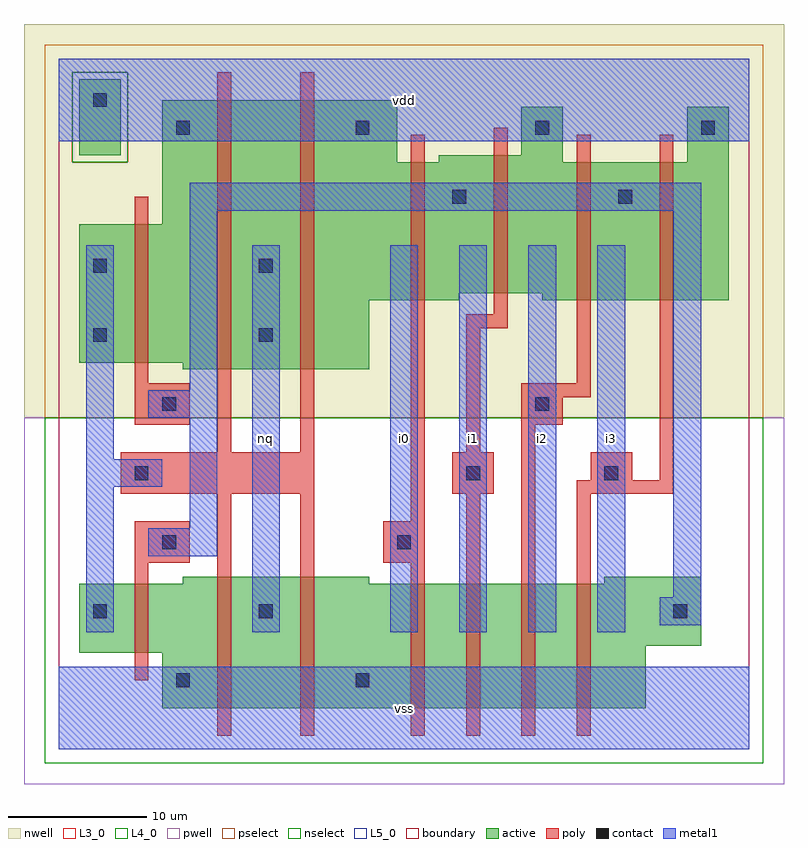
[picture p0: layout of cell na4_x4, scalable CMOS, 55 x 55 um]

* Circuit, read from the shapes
.subckt na4_x4 i0 i1 i2 i3 nq vdd vss
M1 vss n1 n2 VSUBS nfet w=5u l=1u
M2 nq n2 vss VSUBS nfet w=9.5u l=1u m=2
M3 n3 i0 vss VSUBS nfet w=9u l=1u
M4 n4 i1 n3 VSUBS nfet w=9u l=1u
M5 n5 i2 n4 VSUBS nfet w=9u l=1u
M6 n1 i3 n5 VSUBS nfet w=9u l=1u
M7 vdd n1 n2 vdd pfet w=10u l=1u
M8 nq n2 vdd vdd pfet w=19.5u l=1u m=2
M9 n1 i0 vdd vdd pfet w=10u l=1u
M10 vdd i1 n1 vdd pfet w=10u l=1u
M11 n1 i2 vdd vdd pfet w=10u l=1u
M12 vdd i3 n1 vdd pfet w=10u l=1u
.ends

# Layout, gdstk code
import gdstk
lib = gdstk.Library(unit=1e-6, precision=1e-09)
def R(c, l, rs):  # rectangles x0, y0, x1, y1
    for r in rs: c.add(gdstk.rectangle(r[:2], r[2:], *l))
def A(c, l, x, y, w, h, nx, ny, dx, dy):  # array of equal rectangles
    R(c, l, [(x+i*dx, y+j*dy, x+i*dx+w, y+j*dy+h) for i in range(nx) for j in range(ny)])
L3_0 = (3, 0)
L4_0 = (4, 0)
L5_0 = (5, 0)
contact = (25, 0)
pwell = (41, 0)
nwell = (42, 0)
active = (43, 0)
pselect = (44, 0)
nselect = (45, 0)
poly = (46, 0)
metal1 = (49, 0)
boundary = (63, 0)

na4_x4 = lib.new_cell('na4_x4')
R(na4_x4, L3_0, [(7.5,3,42.5,7), (1.5,7,42.5,7.5), (1.5,7.5,46.5,12), (9,12,22.5,12.5), (39.5,12,46.5,12.5)])
R(na4_x4, L4_0, [(9,27.5,22.5,28), (1.5,28,22.5,32.5), (1.5,32.5,29,33), (35,32.5,48.5,33), (1.5,33,48.5,38), (7.5,38,48.5,42.5), (7.5,42.5,24.5,47), (27.5,42.5,36.5,43), (45.5,42.5,48.5,46.5), (33.5,43,36.5,46.5)])
R(na4_x4, L5_0, [(1.5,43,4.5,48.5)])
A(na4_x4, contact, 8.5, 44.5, 1, 1, 3, 1, 13, 0)
R(na4_x4, contact, [(8.5,4.5,9.5,5.5), (21.5,4.5,22.5,5.5), (2.5,9.5,3.5,10.5), (14.5,9.5,15.5,10.5), (44.5,9.5,45.5,10.5), (7.5,14.5,8.5,15.5), (24.5,14.5,25.5,15.5), (5.5,19.5,6.5,20.5), (29.5,19.5,30.5,20.5), (39.5,19.5,40.5,20.5), (7.5,24.5,8.5,25.5), (34.5,24.5,35.5,25.5), (2.5,29.5,3.5,30.5), (14.5,29.5,15.5,30.5), (2.5,34.5,3.5,35.5), (14.5,34.5,15.5,35.5), (28.5,39.5,29.5,40.5), (40.5,39.5,41.5,40.5), (46.5,44.5,47.5,45.5), (2.5,46.5,3.5,47.5)])
R(na4_x4, pwell, [(-2.5,-2.5,52.5,24)])
R(na4_x4, nwell, [(-2.5,24,52.5,52.5)])
R(na4_x4, active, [(7.5,3,42.5,7), (1.5,7,42.5,7.5), (1.5,7.5,46.5,12), (9,12,22.5,12.5), (39.5,12,46.5,12.5), (9,27.5,22.5,28), (1.5,28,22.5,32.5), (1.5,32.5,29,33), (35,32.5,48.5,33), (1.5,33,48.5,38), (7.5,38,48.5,42.5), (7.5,42.5,24.5,47), (27.5,42.5,36.5,43), (45.5,42.5,48.5,46.5), (1.5,43,4.5,48.5), (33.5,43,36.5,46.5)])
R(na4_x4, pselect, [(-1,24,51,42.5), (-1,42.5,1,49), (5,42.5,51,49), (-1,49,51,51)])
R(na4_x4, nselect, [(-1,-1,51,24), (1,42.5,5,49)])
R(na4_x4, poly, [(11.5,1,12.5,18.5), (17.5,1,18.5,18.5), (25.5,1,26.5,13.5), (29.5,1,30.5,18.5), (33.5,1,34.5,23.5), (37.5,1,38.5,18.5), (5.5,5,6.5,13.5), (5.5,13.5,9.5,16.5), (23.5,13.5,26.5,16.5), (25.5,16.5,26.5,44.5), (4.5,18.5,18.5,21.5), (28.5,18.5,31.5,21.5), (37.5,18.5,44.5,19.5), (38.5,19.5,41.5,21.5), (43.5,19.5,44.5,44.5), (11.5,21.5,12.5,49), (17.5,21.5,18.5,49), (29.5,21.5,30.5,30.5), (5.5,23.5,9.5,26.5), (33.5,23.5,36.5,25.5), (33.5,25.5,38.5,26.5), (5.5,26.5,6.5,40), (37.5,26.5,38.5,44.5), (29.5,30.5,32.5,31.5), (31.5,31.5,32.5,45)])
R(na4_x4, metal1, [(0,0,50,6), (0,0,50,6), (2,8.5,4,19), (2,8.5,4,19), (14,8.5,16,36.5), (14,8.5,16,36.5), (24,8.5,26,36.5), (24,8.5,26,36.5), (29,8.5,31,36.5), (29,8.5,31,36.5), (34,8.5,36,36.5), (34,8.5,36,36.5), (39,8.5,41,36.5), (39,8.5,41,36.5), (43.5,9,46.5,11), (43.5,9,46.5,11), (44.5,11,46.5,39), (44.5,11,46.5,39), (6.5,14,11.5,16), (6.5,14,11.5,16), (9.5,16,11.5,24), (9.5,16,11.5,24), (2,19,7.5,21), (2,19,7.5,21), (2,21,4,36.5), (2,21,4,36.5), (6.5,24,11.5,26), (6.5,24,11.5,26), (9.5,26,11.5,39), (9.5,26,11.5,39), (9.5,39,46.5,41), (9.5,39,46.5,41), (0,44,50,50), (0,44,50,50)])
R(na4_x4, boundary, [(0,0,50,50)])
na4_x4.add(gdstk.Label('nq', (15,22.5), layer=49, texttype=0))
na4_x4.add(gdstk.Label('vss', (25,3), layer=49, texttype=0))
na4_x4.add(gdstk.Label('i0', (25,22.5), layer=49, texttype=0))
na4_x4.add(gdstk.Label('i2', (35,22.5), layer=49, texttype=0))
na4_x4.add(gdstk.Label('i1', (30,22.5), layer=49, texttype=0))
na4_x4.add(gdstk.Label('vdd', (25,47), layer=49, texttype=0))
na4_x4.add(gdstk.Label('i3', (40,22.5), layer=49, texttype=0))

lib.write_gds('na4_x4.gds')
